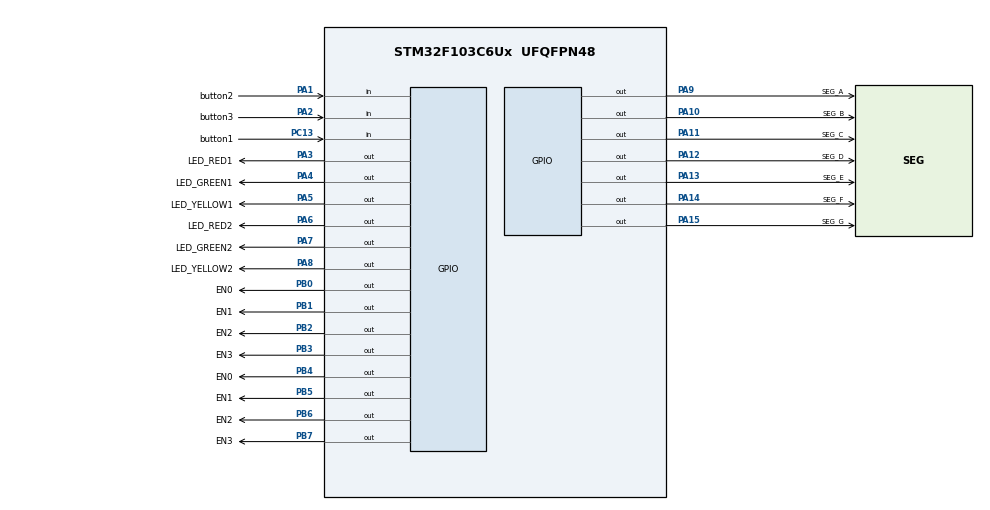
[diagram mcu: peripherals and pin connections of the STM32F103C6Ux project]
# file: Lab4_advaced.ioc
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Mcu.Family=STM32F1
Mcu.Name=STM32F103C6Ux
Mcu.Package=UFQFPN48
NVIC.PriorityGroup=NVIC_PRIORITYGROUP_4
NVIC.TIM2_IRQn=true\:0\:0\:false\:false\:true\:true\:true
PA1.GPIO_Label=button2
PA1.GPIO_PuPd=GPIO_PULLUP
PA1.Signal=GPIO_Input
PA10.GPIO_Label=SEG_B
PA10.Signal=GPIO_Output
PA11.GPIO_Label=SEG_C
PA11.Signal=GPIO_Output
PA12.GPIO_Label=SEG_D
PA12.Signal=GPIO_Output
PA13.GPIO_Label=SEG_E
PA13.Signal=GPIO_Output
PA14.GPIO_Label=SEG_F
PA14.Signal=GPIO_Output
PA15.GPIO_Label=SEG_G
PA15.Signal=GPIO_Output
PA2.GPIO_Label=button3
PA2.GPIO_PuPd=GPIO_PULLUP
PA2.Signal=GPIO_Input
PA3.GPIO_Label=LED_RED1
PA3.Signal=GPIO_Output
PA4.GPIO_Label=LED_GREEN1
PA4.Signal=GPIO_Output
PA5.GPIO_Label=LED_YELLOW1
PA5.Signal=GPIO_Output
PA6.GPIO_Label=LED_RED2
PA6.Signal=GPIO_Output
PA7.GPIO_Label=LED_GREEN2
PA7.Signal=GPIO_Output
PA8.GPIO_Label=LED_YELLOW2
PA8.Signal=GPIO_Output
PA9.GPIO_Label=SEG_A
PA9.Signal=GPIO_Output
PB0.GPIO_Label=EN0
PB0.Signal=GPIO_Output
PB1.GPIO_Label=EN1
PB1.Signal=GPIO_Output
PB2.GPIO_Label=EN2
PB2.Signal=GPIO_Output
PB3.GPIO_Label=EN3
PB3.Signal=GPIO_Output
PB4.GPIO_Label=EN0
PB4.Signal=GPIO_Output
PB5.GPIO_Label=EN1
PB5.Signal=GPIO_Output
PB6.GPIO_Label=EN2
PB6.Signal=GPIO_Output
PB7.GPIO_Label=EN3
PB7.Signal=GPIO_Output
PC13-TAMPER-RTC.GPIO_Label=button1
PC13-TAMPER-RTC.GPIO_PuPd=GPIO_PULLUP
PC13-TAMPER-RTC.Signal=GPIO_Input
ProjectManager.HeapSize=0x200
ProjectManager.StackSize=0x400
ProjectManager.TargetToolchain=STM32CubeIDE
RCC.APB1Freq_Value=8000000
RCC.APB2Freq_Value=8000000
TIM2.Period=9
TIM2.Prescaler=7999
VP_SYS_VS_ND.Mode=No_Debug
VP_TIM2_VS_ClockSourceINT.Mode=Internal
board=custom

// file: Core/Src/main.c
/* USER CODE BEGIN Header */
/**
  ******************************************************************************
  * @file           : main.c
  * @brief          : Main program body
  ******************************************************************************
  * @attention
  *
  * <h2><center>&copy; Copyright (c) 2024 STMicroelectronics.
  * All rights reserved.</center></h2>
  *
  * This software component is licensed by ST under BSD 3-Clause license,
  * the "License"; You may not use this file except in compliance with the
  * License. You may obtain a copy of the License at:
  *                        opensource.org/licenses/BSD-3-Clause
  *
  ******************************************************************************
  */
/* USER CODE END Header */
#include "main.h"

/* USER CODE BEGIN Includes */
#include "scheduler.h"
#include "global.h"
#include "button.h"
#include "time_set.h"
#include "FSM_automatic.h"
#include "FSM_manual.h"
/* USER CODE END Includes */

TIM_HandleTypeDef htim2;

void SystemClock_Config(void);
static void MX_TIM2_Init(void);
static void MX_GPIO_Init(void);

int main(void)
{

  /* MCU Configuration--------------------------------------------------------*/

  /* Reset of all peripherals, Initializes the Flash interface and the Systick. */
  HAL_Init();

  /* Configure the system clock */
  SystemClock_Config();

  /* Initialize all configured peripherals */
  MX_TIM2_Init();
  MX_GPIO_Init();
  /* USER CODE BEGIN 2 */
  HAL_TIM_Base_Start_IT (& htim2 );
  initial();
  SCH_init();
  SCH_addTask(runTimer, 0, 1, 0);
  SCH_addTask(buttonReading, 1, 2, 1);
  SCH_addTask(automaticRun, 2, 2, 2);
  SCH_addTask(manual_run, 3, 2, 3);
  SCH_addTask(displayNum, 10, 10, 4);
//  SCH_addTask(task1, 1, 1, 5);

  /* USER CODE END 2 */

  /* Infinite loop */
  /* USER CODE BEGIN WHILE */
  while (1)
  {
	  SCH_dispatchTask();
    /* USER CODE END WHILE */

  }
}

void SystemClock_Config(void)
{
  RCC_OscInitTypeDef RCC_OscInitStruct = {0};
  RCC_ClkInitTypeDef RCC_ClkInitStruct = {0};

  /** Initializes the RCC Oscillators according to the specified parameters
  * in the RCC_OscInitTypeDef structure.
  */
  RCC_OscInitStruct.OscillatorType = RCC_OSCILLATORTYPE_HSI;
  RCC_OscInitStruct.HSIState = RCC_HSI_ON;
  RCC_OscInitStruct.HSICalibrationValue = RCC_HSICALIBRATION_DEFAULT;
  RCC_OscInitStruct.PLL.PLLState = RCC_PLL_NONE;
  if (HAL_RCC_OscConfig(&RCC_OscInitStruct) != HAL_OK)
  {
    Error_Handler();
  }
  /** Initializes the CPU, AHB and APB buses clocks
  */
  RCC_ClkInitStruct.ClockType = RCC_CLOCKTYPE_HCLK|RCC_CLOCKTYPE_SYSCLK
                              |RCC_CLOCKTYPE_PCLK1|RCC_CLOCKTYPE_PCLK2;
  RCC_ClkInitStruct.SYSCLKSource = RCC_SYSCLKSOURCE_HSI;
  RCC_ClkInitStruct.AHBCLKDivider = RCC_SYSCLK_DIV1;
  RCC_ClkInitStruct.APB1CLKDivider = RCC_HCLK_DIV1;
  RCC_ClkInitStruct.APB2CLKDivider = RCC_HCLK_DIV1;

  if (HAL_RCC_ClockConfig(&RCC_ClkInitStruct, FLASH_LATENCY_0) != HAL_OK)
  {
    Error_Handler();
  }
}

static void MX_TIM2_Init(void)
{

  TIM_ClockConfigTypeDef sClockSourceConfig = {0};
  TIM_MasterConfigTypeDef sMasterConfig = {0};

  htim2.Instance = TIM2;
  htim2.Init.Prescaler = 7999;
  htim2.Init.CounterMode = TIM_COUNTERMODE_UP;
  htim2.Init.Period = 9;
  htim2.Init.ClockDivision = TIM_CLOCKDIVISION_DIV1;
  htim2.Init.AutoReloadPreload = TIM_AUTORELOAD_PRELOAD_DISABLE;
  if (HAL_TIM_Base_Init(&htim2) != HAL_OK)
  {
    Error_Handler();
  }
  sClockSourceConfig.ClockSource = TIM_CLOCKSOURCE_INTERNAL;
  if (HAL_TIM_ConfigClockSource(&htim2, &sClockSourceConfig) != HAL_OK)
  {
    Error_Handler();
  }
  sMasterConfig.MasterOutputTrigger = TIM_TRGO_RESET;
  sMasterConfig.MasterSlaveMode = TIM_MASTERSLAVEMODE_DISABLE;
  if (HAL_TIMEx_MasterConfigSynchronization(&htim2, &sMasterConfig) != HAL_OK)
  {
    Error_Handler();
  }

}

static void MX_GPIO_Init(void)
{
  GPIO_InitTypeDef GPIO_InitStruct = {0};

  /* GPIO Ports Clock Enable */
  __HAL_RCC_GPIOC_CLK_ENABLE();
  __HAL_RCC_GPIOA_CLK_ENABLE();
  __HAL_RCC_GPIOB_CLK_ENABLE();

  /*Configure GPIO pin Output Level */
  HAL_GPIO_WritePin(GPIOA, LED_RED1_Pin|LED_GREEN1_Pin|LED_YELLOW1_Pin|LED_RED2_Pin
                          |LED_GREEN2_Pin|LED_YELLOW2_Pin|SEG_A_Pin|SEG_B_Pin
                          |SEG_C_Pin|SEG_D_Pin|SEG_E_Pin|SEG_F_Pin
                          |SEG_G_Pin, GPIO_PIN_RESET);

  /*Configure GPIO pin Output Level */
  HAL_GPIO_WritePin(GPIOB, EN0_Pin|EN1_Pin|EN2_Pin|EN3_Pin
                          |EN0B4_Pin|EN1B5_Pin|EN2B6_Pin|EN3B7_Pin, GPIO_PIN_RESET);

  /*Configure GPIO pin : button1_Pin */
  GPIO_InitStruct.Pin = button1_Pin;
  GPIO_InitStruct.Mode = GPIO_MODE_INPUT;
  GPIO_InitStruct.Pull = GPIO_PULLUP;
  HAL_GPIO_Init(button1_GPIO_Port, &GPIO_InitStruct);

  /*Configure GPIO pins : button2_Pin button3_Pin */
  GPIO_InitStruct.Pin = button2_Pin|button3_Pin;
  GPIO_InitStruct.Mode = GPIO_MODE_INPUT;
  GPIO_InitStruct.Pull = GPIO_PULLUP;
  HAL_GPIO_Init(GPIOA, &GPIO_InitStruct);
  /*Configure GPIO pins : LED_RED1_Pin LED_GREEN1_Pin LED_YELLOW1_Pin LED_RED2_Pin
                           LED_GREEN2_Pin LED_YELLOW2_Pin SEG_A_Pin SEG_B_Pin
                           SEG_C_Pin SEG_D_Pin SEG_E_Pin SEG_F_Pin
                           SEG_G_Pin */
  GPIO_InitStruct.Pin = LED_RED1_Pin|LED_GREEN1_Pin|LED_YELLOW1_Pin|LED_RED2_Pin
                          |LED_GREEN2_Pin|LED_YELLOW2_Pin|SEG_A_Pin|SEG_B_Pin
                          |SEG_C_Pin|SEG_D_Pin|SEG_E_Pin|SEG_F_Pin
                          |SEG_G_Pin;
  GPIO_InitStruct.Mode = GPIO_MODE_OUTPUT_PP;
  GPIO_InitStruct.Pull = GPIO_NOPULL;
  GPIO_InitStruct.Speed = GPIO_SPEED_FREQ_LOW;
  HAL_GPIO_Init(GPIOA, &GPIO_InitStruct);

  /*Configure GPIO pins : EN0_Pin EN1_Pin EN2_Pin EN3_Pin
                           EN0B4_Pin EN1B5_Pin EN2B6_Pin EN3B7_Pin */
  GPIO_InitStruct.Pin = EN0_Pin|EN1_Pin|EN2_Pin|EN3_Pin
                          |EN0B4_Pin|EN1B5_Pin|EN2B6_Pin|EN3B7_Pin;
  GPIO_InitStruct.Mode = GPIO_MODE_OUTPUT_PP;
  GPIO_InitStruct.Pull = GPIO_NOPULL;
  GPIO_InitStruct.Speed = GPIO_SPEED_FREQ_LOW;
  HAL_GPIO_Init(GPIOB, &GPIO_InitStruct);

}

/* USER CODE BEGIN 4 */

void HAL_TIM_PeriodElapsedCallback ( TIM_HandleTypeDef * htim )
{
	SCH_updateTask();
}
/* USER CODE END 4 */

void Error_Handler(void)
{
  __disable_irq();
  while (1)
  {
  }
}

/************************ (C) COPYRIGHT STMicroelectronics *****END OF FILE****/
